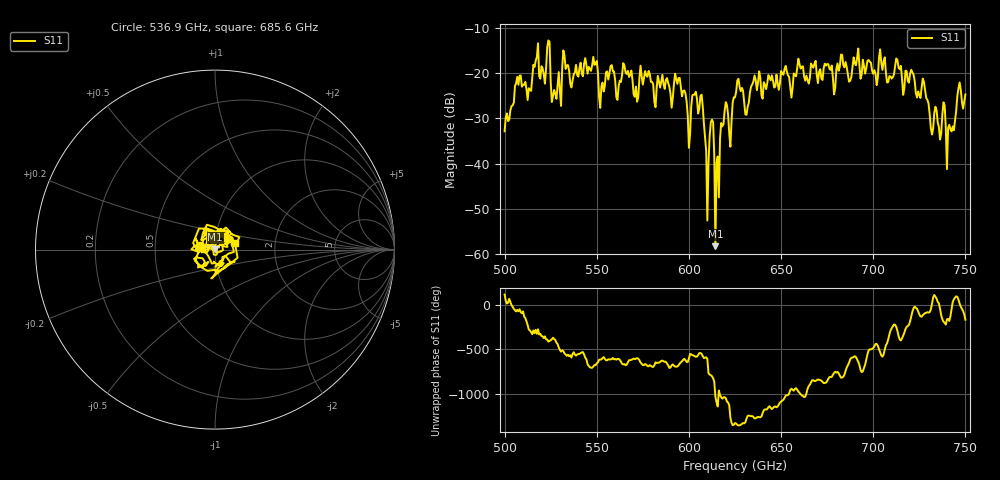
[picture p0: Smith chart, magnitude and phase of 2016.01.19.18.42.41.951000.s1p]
!Created with skrf (http://scikit-rf.org).
# GHz S RI R 50.0
!freq ReS11 ImS11
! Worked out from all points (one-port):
!   401 points, 500 GHz to 750 GHz, reference 50 ohm
!   lowest |S11| = -58.3 dB at 614.4 GHz (marker M1), VSWR 1.00, Z = 50.1 + j0.0898 ohm
!   |S11| at or under -10 dB: start of sweep to end of sweep
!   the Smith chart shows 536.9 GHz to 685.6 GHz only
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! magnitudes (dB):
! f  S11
! 500 GHz  -32.9
! 507.5 GHz  -22.5
! 513.8 GHz  -23.7
! 516.9 GHz  -17.2
! 523.8 GHz  -12.7
! 526.9 GHz  -23.7
! 531.2 GHz  -18.7
! 548.8 GHz  -18.1
! 562.5 GHz  -21.6
! 593.8 GHz  -22.3
! 600 GHz  -36.5
! 603.1 GHz  -24.7
! 606.9 GHz  -24.7
! 609.4 GHz  -37.3
! 612.5 GHz  -30.3
! 614.4 GHz  -58.3
! 615.6 GHz  -38.4
! 618.8 GHz  -31.3
! 622.5 GHz  -36.3
! 625 GHz  -25.3
! 656.2 GHz  -23.2
! 660.6 GHz  -18.9
! 687.5 GHz  -21.6
! 690.6 GHz  -18.2
! 718.8 GHz  -21.7
! 741.2 GHz  -31.4
! 746.2 GHz  -23.3
! 750 GHz  -24.7
